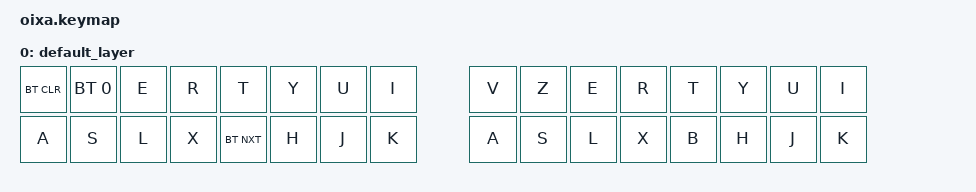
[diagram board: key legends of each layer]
/*
 * Copyright (c) 2020 The ZMK Contributors
 *
 * SPDX-License-Identifier: MIT
 */

#include <behaviors.dtsi>
#include <dt-bindings/zmk/keys.h>
#include <dt-bindings/zmk/bt.h>
#include <dt-bindings/zmk/ext_power.h>

/ {
    keymap {
        compatible = "zmk,keymap";

        default_layer {
            bindings = <
    &bt BT_CLR &bt BT_SEL 0  &kp E  &kp R  &kp T  &kp Y  &kp U  &kp I          &kp V &kp Z  &kp E  &kp R  &kp T  &kp Y  &kp U  &kp I 
    &kp A  &kp S  &kp L  &kp X  &bt BT_NXT  &kp H  &kp J  &kp K                &kp A  &kp S  &kp L  &kp X  &kp B &kp H  &kp J  &kp K
            >;
        };
    };
};
